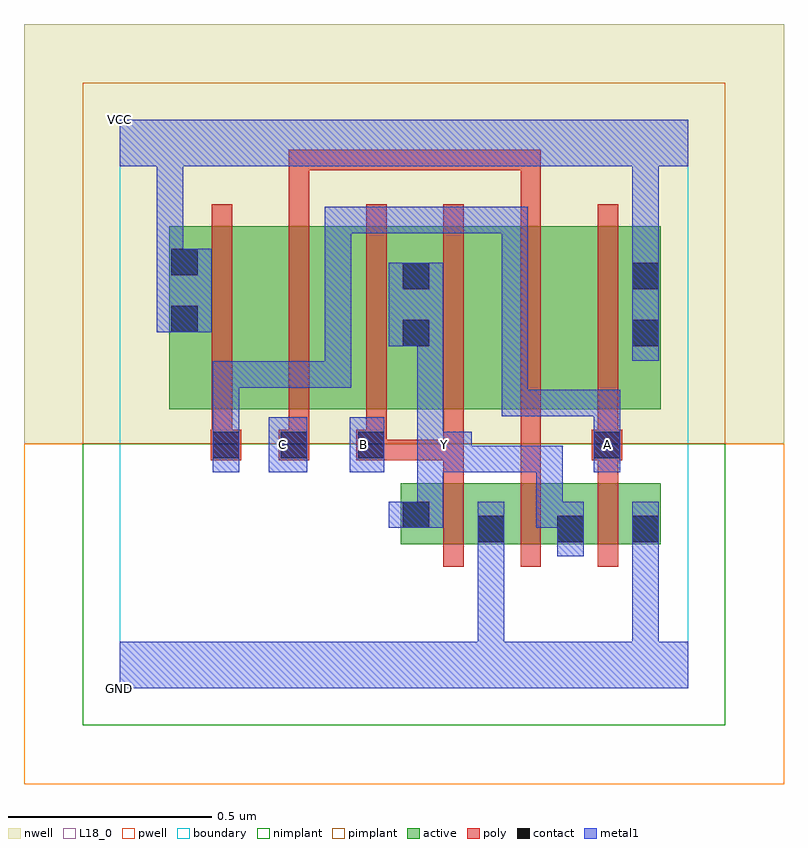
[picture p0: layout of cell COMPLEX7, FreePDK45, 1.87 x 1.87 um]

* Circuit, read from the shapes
.subckt COMPLEX7 A B C GND VCC Y
M1 GND B Y VSUBS nfet w=0.15u l=0.05u
M2 Y C GND VSUBS nfet w=0.15u l=0.05u
M3 GND A Y VSUBS nfet w=0.15u l=0.05u
M4 n1 A VCC n2 pfet w=0.45u l=0.05u
M5 n3 C n1 n2 pfet w=0.45u l=0.05u
M6 Y B n3 n2 pfet w=0.45u l=0.05u
M7 n4 B Y n2 pfet w=0.45u l=0.05u
M8 n5 C n4 n2 pfet w=0.45u l=0.05u
M9 VCC A n5 n2 pfet w=0.45u l=0.05u
.ends

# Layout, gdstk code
import gdstk
lib = gdstk.Library(unit=1e-6, precision=1e-09)
def R(c, l, rs):  # rectangles x0, y0, x1, y1
    for r in rs: c.add(gdstk.rectangle(r[:2], r[2:], *l))
def A(c, l, x, y, w, h, nx, ny, dx, dy):  # array of equal rectangles
    R(c, l, [(x+i*dx, y+j*dy, x+i*dx+w, y+j*dy+h) for i in range(nx) for j in range(ny)])
active = (1, 0)
pwell = (2, 0)
nwell = (3, 0)
nimplant = (4, 0)
pimplant = (5, 0)
poly = (9, 0)
contact = (10, 0)
metal1 = (11, 0)
L18_0 = (18, 0)
boundary = (235, 0)

complex7 = lib.new_cell('COMPLEX7')
R(complex7, active, [(0.692,0.355,0.952,0.505), (0.877,0.355,0.952,0.43), (0.877,0.355,1.147,0.505), (1.072,0.355,1.332,0.505), (1.072,0.355,1.147,0.43), (1.257,0.355,1.332,0.505), (0.692,0.39,0.767,0.505), (0.122,0.687,0.197,1.107), (0.122,0.687,0.347,1.137), (0.347,0.687,0.537,1.137), (0.537,0.687,0.767,1.137), (0.692,0.687,0.917,1.137), (0.917,0.687,1.107,1.137), (1.107,0.687,1.332,1.137), (1.257,0.687,1.332,1.107), (0.692,0.732,0.767,1.07)])
R(complex7, pwell, [(-0.235,-0.235,1.635,0.602)])
R(complex7, nwell, [(-0.235,0.602,1.635,1.635)])
R(complex7, nimplant, [(-0.09,-0.09,1.49,0.602)])
R(complex7, pimplant, [(-0.09,0.602,1.49,1.49)])
A(complex7, poly, 0.797, 0.3, 0.05, 0.26, 3, 1, 0.19, 0)
A(complex7, poly, 0.227, 0.587, 0.05, 0.095, 3, 1, 0.19, 0)
A(complex7, poly, 0.227, 0.632, 0.05, 0.56, 6, 1, 0.19, 0)
R(complex7, poly, [(0.797,0.51,0.847,0.612), (0.987,0.51,1.037,0.605), (1.177,0.51,1.227,0.612), (0.987,0.555,1.037,0.605), (0.987,0.555,1.037,0.682), (0.225,0.562,0.3,0.637), (0.392,0.562,0.467,0.637), (0.582,0.562,0.657,0.637), (0.607,0.562,0.657,0.612), (0.607,0.562,0.657,0.612), (0.607,0.562,0.847,0.612), (0.797,0.562,0.847,0.612), (0.797,0.562,0.847,0.682), (1.162,0.562,1.237,0.637), (1.177,0.587,1.227,0.682), (0.417,1.142,0.467,1.325), (0.987,1.142,1.037,1.325), (0.417,1.275,0.467,1.325), (0.417,1.275,0.467,1.325), (0.417,1.275,0.467,1.325), (0.417,1.275,0.637,1.325), (0.587,1.275,0.637,1.325), (0.587,1.275,0.637,1.325), (0.587,1.275,0.637,1.325), (0.587,1.275,0.905,1.325), (0.855,1.275,1.037,1.325), (0.855,1.275,0.905,1.325), (0.855,1.275,0.905,1.325), (0.855,1.275,0.905,1.325), (0.987,1.275,1.037,1.325)])
R(complex7, contact, [(0.882,0.36,0.947,0.425), (1.077,0.36,1.142,0.425), (1.262,0.36,1.327,0.425), (0.697,0.395,0.762,0.46), (0.23,0.567,0.295,0.632), (0.397,0.567,0.462,0.632), (0.587,0.567,0.652,0.632), (1.167,0.567,1.232,0.632), (0.697,0.842,0.762,0.907), (1.262,0.842,1.327,0.907), (0.127,0.877,0.192,0.942), (0.697,0.982,0.762,1.047), (1.262,0.982,1.327,1.047), (0.127,1.017,0.192,1.082)])
R(complex7, metal1, [(0,0,1.4,0.115), (0.882,0.05,0.947,0.115), (0.882,0.05,0.947,0.115), (0.882,0.05,0.947,0.39), (1.262,0.05,1.327,0.115), (1.262,0.05,1.327,0.115), (1.262,0.05,1.327,0.39), (0.882,0.325,0.947,0.39), (0.882,0.325,0.947,0.39), (0.882,0.325,0.947,0.46), (1.077,0.325,1.142,0.46), (1.262,0.325,1.327,0.39), (1.262,0.325,1.327,0.39), (1.262,0.325,1.327,0.46), (0.662,0.395,0.797,0.46), (0.732,0.395,0.797,0.46), (0.732,0.395,0.797,0.597), (0.732,0.395,0.797,0.632), (1.025,0.395,1.142,0.46), (1.025,0.395,1.09,0.597), (0.23,0.532,0.295,0.667), (0.367,0.532,0.462,0.667), (0.567,0.532,0.652,0.667), (0.732,0.532,1.005,0.597), (0.94,0.532,1.005,0.597), (0.94,0.532,1.09,0.597), (1.167,0.532,1.232,0.735), (0.732,0.567,0.797,0.907), (0.732,0.567,0.867,0.632), (0.23,0.602,0.295,0.667), (0.23,0.602,0.295,0.667), (0.23,0.602,0.295,0.805), (0.94,0.67,1.005,0.735), (0.94,0.67,1.005,0.735), (0.94,0.67,1.005,0.735), (0.94,0.67,1.005,0.735), (0.94,0.67,1.005,0.735), (0.94,0.67,1.19,0.735), (0.94,0.67,1.005,1.185), (1.125,0.67,1.19,0.735), (1.125,0.67,1.232,0.735), (0.23,0.74,0.295,0.805), (0.23,0.74,0.432,0.805), (0.367,0.74,0.432,0.805), (0.367,0.74,0.57,0.805), (0.505,0.74,0.57,0.805), (0.505,0.74,0.57,1.185), (1.262,0.807,1.327,1.082), (0.662,0.842,0.797,1.047), (0.092,0.877,0.227,1.082), (0.092,1.017,0.157,1.35), (0.092,1.017,0.157,1.082), (0.092,1.017,0.157,1.082), (1.262,1.017,1.327,1.35), (0.505,1.12,0.57,1.185), (0.505,1.12,0.57,1.185), (0.505,1.12,0.57,1.185), (0.505,1.12,0.81,1.185), (0.745,1.12,0.81,1.185), (0.745,1.12,0.81,1.185), (0.745,1.12,0.81,1.185), (0.745,1.12,1.005,1.185), (0.94,1.12,1.005,1.185), (0,1.285,1.4,1.4), (1.262,1.285,1.327,1.35), (1.262,1.285,1.327,1.35)])
A(complex7, L18_0, 0.367, 0.567, 0.065, 0.065, 3, 1, 0.2, 0)
R(complex7, L18_0, [(0,0,1.4,0.115), (0.882,0.05,0.947,0.115), (0.882,0.05,0.947,0.115), (0.882,0.05,0.947,0.39), (1.262,0.05,1.327,0.115), (1.262,0.05,1.327,0.115), (1.262,0.05,1.327,0.39), (0.882,0.325,0.947,0.39), (0.882,0.325,0.947,0.39), (0.882,0.325,0.947,0.46), (1.077,0.325,1.142,0.46), (1.262,0.325,1.327,0.39), (1.262,0.325,1.327,0.39), (1.262,0.325,1.327,0.46), (0.662,0.395,0.797,0.46), (0.732,0.395,0.797,0.46), (0.732,0.395,0.797,0.632), (0.732,0.395,0.797,0.597), (1.025,0.395,1.09,0.597), (1.025,0.395,1.142,0.46), (0.23,0.532,0.295,0.667), (0.367,0.532,0.462,0.667), (0.567,0.532,0.652,0.667), (0.732,0.532,1.005,0.597), (0.94,0.532,1.005,0.597), (0.94,0.532,1.09,0.597), (1.167,0.532,1.232,0.735), (0.732,0.567,0.867,0.632), (0.732,0.567,0.797,0.907), (1.167,0.567,1.232,0.632), (0.23,0.602,0.295,0.667), (0.23,0.602,0.295,0.667), (0.23,0.602,0.295,0.805), (0.94,0.67,1.005,0.735), (0.94,0.67,1.005,0.735), (0.94,0.67,1.005,0.735), (0.94,0.67,1.005,0.735), (0.94,0.67,1.005,0.735), (0.94,0.67,1.005,1.185), (0.94,0.67,1.19,0.735), (1.125,0.67,1.19,0.735), (1.125,0.67,1.232,0.735), (0.23,0.74,0.295,0.805), (0.23,0.74,0.432,0.805), (0.367,0.74,0.432,0.805), (0.367,0.74,0.57,0.805), (0.505,0.74,0.57,0.805), (0.505,0.74,0.57,1.185), (1.262,0.807,1.327,1.082), (0.662,0.842,0.797,1.047), (0.092,0.877,0.227,1.082), (0.092,1.017,0.157,1.082), (0.092,1.017,0.157,1.082), (0.092,1.017,0.157,1.35), (1.262,1.017,1.327,1.35), (0.505,1.12,0.57,1.185), (0.505,1.12,0.57,1.185), (0.505,1.12,0.57,1.185), (0.505,1.12,0.81,1.185), (0.745,1.12,0.81,1.185), (0.745,1.12,0.81,1.185), (0.745,1.12,0.81,1.185), (0.745,1.12,1.005,1.185), (0.94,1.12,1.005,1.185), (0,1.285,1.4,1.4), (1.262,1.285,1.327,1.35), (1.262,1.285,1.327,1.35)])
R(complex7, boundary, [(0,0,1.4,1.4)])
complex7.add(gdstk.Label('A', (1.2,0.6), layer=11, texttype=0))
complex7.add(gdstk.Label('B', (0.6,0.6), layer=11, texttype=0))
complex7.add(gdstk.Label('C', (0.4,0.6), layer=11, texttype=0))
complex7.add(gdstk.Label('Y', (0.8,0.6), layer=11, texttype=0))
complex7.add(gdstk.Label('VCC', (0,1.4), layer=11, texttype=0))
complex7.add(gdstk.Label('GND', (0,0), layer=11, texttype=0))

lib.write_gds('COMPLEX7.gds')
